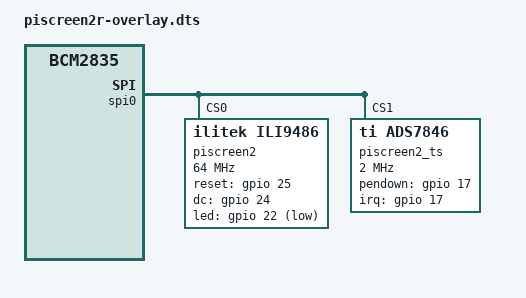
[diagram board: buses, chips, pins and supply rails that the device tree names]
 /*
 * Device Tree overlay for PiScreen2 3.5" TFT with resistive touch  by Ozzmaker.com
 *
 */

/dts-v1/;
/plugin/;

/ {
	compatible = "brcm,bcm2835";

	fragment@0 {
		target = <&spi0>;
		__overlay__ {
			status = "okay";
		};
	};

	fragment@1 {
		target = <&spidev0>;
		__overlay__ {
			status = "disabled";
		};
	};

	fragment@2 {
		target = <&spidev1>;
		__overlay__ {
			status = "disabled";
		};
	};

	fragment@3 {
		target = <&gpio>;
		__overlay__ {
			piscreen2_pins: piscreen2_pins {
				brcm,pins = <17 25 24 22>;
				brcm,function = <0 1 1 1>; /* in out out out */
			};
		};
	};

	fragment@4 {
		target = <&spi0>;
		__overlay__ {
			/* needed to avoid dtc warning */
			#address-cells = <1>;
			#size-cells = <0>;

			piscreen2: piscreen2@0{
				compatible = "ilitek,ili9486";
				reg = <0>;
				pinctrl-names = "default";
				pinctrl-0 = <&piscreen2_pins>;
				bgr;
				spi-max-frequency = <64000000>;
				rotate = <90>;
				fps = <30>;
				buswidth = <8>;
				regwidth = <16>;
				txbuflen = <32768>;
				reset-gpios = <&gpio 25 0>;
				dc-gpios = <&gpio 24 0>;
				led-gpios = <&gpio 22 1>;
				debug = <0>;

                                init = <0x10000b0 0x00
                                        0x1000011
                                        0x20000ff
                                        0x100003a 0x55
                                        0x1000036 0x28
                                        0x10000c0 0x11 0x09
                                        0x10000c1 0x41
                                        0x10000c5 0x00 0x00 0x00 0x00
                                        0x10000b6 0x00 0x02
                                        0x10000f7 0xa9 0x51 0x2c 0x2
                                        0x10000be 0x00 0x04
                                        0x10000e9 0x00
                                        0x1000011
                                        0x1000029>;

			};

			piscreen2_ts: piscreen2-ts@1 {
				compatible = "ti,ads7846";
				reg = <1>;

				spi-max-frequency = <2000000>;
				interrupts = <17 2>; /* high-to-low edge triggered */
				interrupt-parent = <&gpio>;
				pendown-gpio = <&gpio 17 0>;
				ti,swap-xy;
				ti,x-plate-ohms = /bits/ 16 <100>;
				ti,pressure-max = /bits/ 16 <255>;
			};
		};
	};
	__overrides__ {
		speed =		<&piscreen2>,"spi-max-frequency:0";
		rotate =	<&piscreen2>,"rotate:0";
		fps =		<&piscreen2>,"fps:0";
		debug =		<&piscreen2>,"debug:0";
		xohms =		<&piscreen2_ts>,"ti,x-plate-ohms;0";
	};
};

